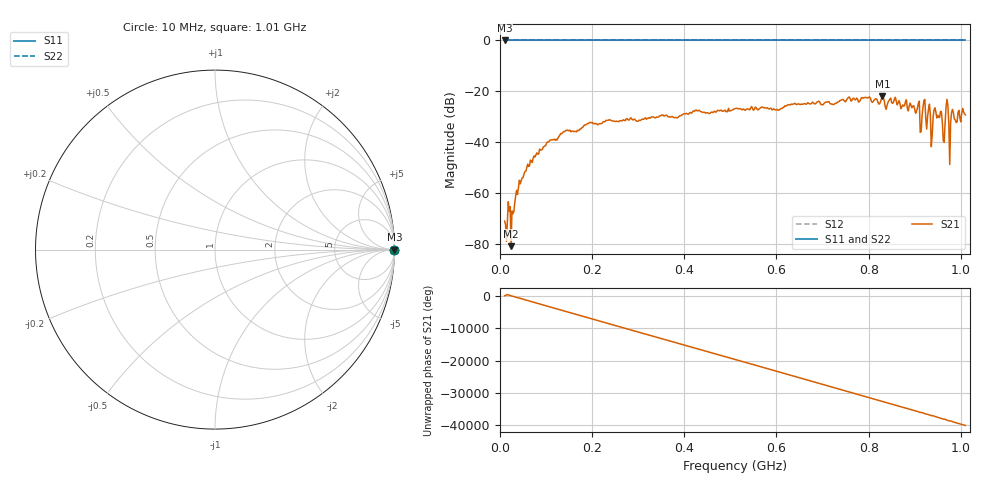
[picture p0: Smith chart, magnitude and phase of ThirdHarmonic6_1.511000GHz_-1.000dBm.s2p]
! 8/16/2025 5:47:58 PM
! C:\ANRITSUVNA\TEMP\TEMP.S2P
! CHANNEL.1
! TR.MEASUREMENT
! RAW.DATA
! RF.CORRECTION.OFF
! AVERAGING.OFF
! IF.BANDWIDTH: 5KHZ
! SWEEPTYPE:  FREQ.SWEEP(Linear)
! Reference Plane Port Info
! PORT:  PORT1  PORT2
! DISTANCE:  0  m  0  m
! TIME:  0  s  0  s
! PHASE.OFFSET:  0  deg.  0  deg.
! LOSS:  0  dB  0  dB
! REF.LOSS:  0  dB  0  dB
! REF.FREQ:  0  Hz  0  Hz
! Power Info
! POWER:  -20  dBm  -20  dBm
! EFF.POWER:  -20  dBm  -20  dBm
! SOURCE.ATTEN:  0  dB  0  dB
! TEST.ATTEN:  0  dB  0  dB
# GHZ S RI R 50.0
! FREQ.GHZ  S11RE  S11IM  S21RE  S21IM  S12RE  S12IM  S22RE  S22IM
!; PortSelection: Port_12
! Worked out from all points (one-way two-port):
!   501 points, 10 MHz to 1.01 GHz, reference 50 ohm
!   highest |S21| = -22.04 dB at 830 MHz (marker M1); lowest = -81.0 dB at 24 MHz (marker M2)
!   lowest |S11| = 0.0 dB at 10 MHz (marker M3)
!   |S11| at or under -10 dB: nowhere
!   |S22| runs from 0.0 to 0.0 dB; largest |S21 - S12| = 1.1
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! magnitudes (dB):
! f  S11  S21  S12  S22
! 10 MHz  0.0  -71.1  0.0  0.0
! 24 MHz  0.0  -81.0  0.0  0.0
! 28 MHz  0.0  -68.2  0.0  0.0
! 44 MHz  0.0  -56.4  0.0  0.0
! 76 MHz  0.0  -45.8  0.0  0.0
! 140 MHz  0.0  -35.9  0.0  0.0
! 178 MHz  0.0  -34.3  0.0  0.0
! 344 MHz  0.0  -30.1  0.0  0.0
! 510 MHz  0.0  -26.8  0.0  0.0
! 678 MHz  0.0  -24.3  0.0  0.0
! 830 MHz  0.0  -22.0  0.0  0.0
! 844 MHz  0.0  -23.8  0.0  0.0
! 906 MHz  0.0  -26.5  0.0  0.0
! 914 MHz  0.0  -35.8  0.0  0.0
! 920 MHz  0.0  -23.6  0.0  0.0
! 938 MHz  0.0  -37.2  0.0  0.0
! 946 MHz  0.0  -28.2  0.0  0.0
! 962 MHz  0.0  -39.5  0.0  0.0
! 970 MHz  0.0  -23.2  0.0  0.0
! 978 MHz  0.0  -32.1  0.0  0.0
! 982 MHz  0.0  -27.1  0.0  0.0
! 1.01 GHz  0.0  -29.3  0.0  0.0
